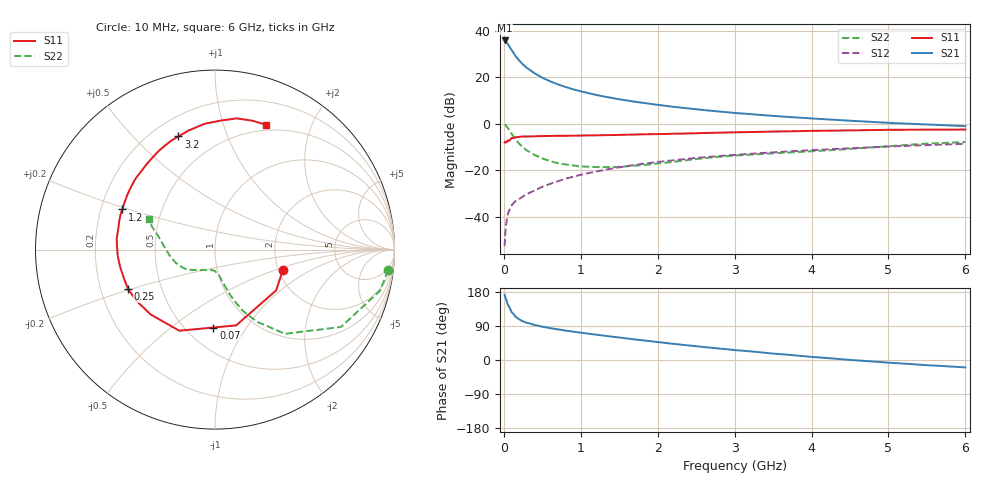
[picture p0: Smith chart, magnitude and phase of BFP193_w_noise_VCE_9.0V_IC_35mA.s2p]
! Infineon Technologies  Discrete & RF Semiconductors
! BFP193
! VCE =  9.0 V,  IC =  35 mA
! Common Emitter S-Parameters:  Jan 2017
# GHz  S  MA  R  50
!  f  S11  S21  S12  S22
! GHz  MAG  ANG  MAG  ANG  MAG  ANG  MAG  ANG
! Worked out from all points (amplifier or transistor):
!   77 points, 10 MHz to 6 GHz, reference 50 ohm
!   highest |S21| = 35.9 dB at 10 MHz (marker M1)
!   |S21| within 3 dB of that: start of sweep to 78.87 MHz
!   unconditionally stable (mu >= 1): 776.2 MHz to 2.46 GHz
!   at 130 MHz: K = 0.49, MSG = 32.2 dB, |S12| = -34.1 dB
!   at 2.2 GHz: K = 1.01, MAG = 10.8 dB, |S12| = -15.8 dB
!   at 6 GHz: K = 0.90, MSG = 3.8 dB, |S12| = -8.7 dB
!   lowest NFmin = 1.29 dB at 450 MHz
!   S11 on the Smith chart (normalised r, x): 10 MHz: 2.11, -0.57; 70 MHz: 0.67, -0.72; 250 MHz: 0.32, -0.19; 1.2 GHz: 0.29, +0.19; 3.2 GHz: 0.30, +0.68; 6 GHz: 0.44, +1.39
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0.01  0.3948 -16.8  62.46 172.0  0.0023 88.1  0.971 -6.8
0.02  0.4094 -33.7  61.88 165.1  0.0046 87.6  0.9482 -13.9
0.05  0.4384 -74.4  52.98 146.5  0.0111 67.7  0.8241 -31.5
0.07  0.4342 -91.2  46.74 139.9  0.0135 63.1  0.7301 -37.7
0.1  0.4938 -113.8  39 126.3  0.0173 58.6  0.6107 -50.2
0.15  0.509 -134.7  29.19 114.6  0.0213 55.8  0.4625 -60.0
0.2  0.523 -147.0  23.04 107.3  0.0239 56.4  0.3715 -65.8
0.25  0.5312 -155.7  18.9 101.8  0.0271 56.8  0.3096 -69.0
0.3  0.5319 -161.6  15.96 98.2  0.0306 59.0  0.2652 -71.6
0.4  0.5375 -169.9  12.21 92.3  0.0365 61.5  0.2118 -74.7
0.5  0.5432 -176.5  9.829 87.9  0.0438 64.0  0.1788 -77.4
0.7  0.5507 174.0  7.091 81.0  0.0574 65.4  0.1417 -81.4
0.9  0.5525 166.5  5.533 74.9  0.072 65.0  0.1264 -86.9
1.1  0.5612 159.7  4.562 69.5  0.0863 64.6  0.1186 -92.2
1.2  0.5636 156.6  4.187 66.8  0.0935 63.5  0.1164 -95.3
1.6  0.5807 144.9  3.172 56.8  0.1225 60.1  0.121 -109.9
2.1  0.6034 131.3  2.44 45.1  0.1564 54.7  0.1447 -128.3
3.1  0.6585 109.7  1.664 24.6  0.219 43.0  0.2109 -153.4
3.2  0.6628 107.9  1.615 22.8  0.2247 41.8  0.2155 -155.5
4.1  0.7059 93.2  1.273 6.7  0.2757 31.6  0.261 -175.5
5.1  0.7415 79.3  1.031 -8.3  0.3281 20.3  0.3369 164.7
6  0.7511 68.0  0.889 -19.6  0.3692 10.3  0.4024 155.2
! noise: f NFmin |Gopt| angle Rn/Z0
0.45  1.29  0.37  -172  0.08
0.9  1.35  0.4  -169  0.08
1.9  1.95  0.58  -135  0.18
2.4  2.29  0.62  -120  0.4
